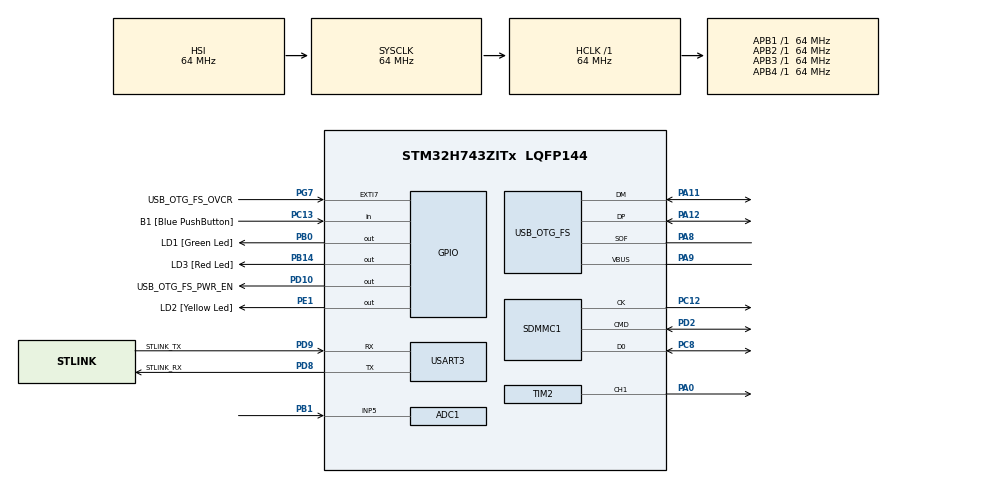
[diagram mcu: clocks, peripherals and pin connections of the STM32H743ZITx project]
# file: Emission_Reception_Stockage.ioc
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ADC1.Channel-0\#ChannelRegularConversion=ADC_CHANNEL_5
ADC1.ClockPrescaler=ADC_CLOCK_ASYNC_DIV1
ADC1.ContinuousConvMode=ENABLE
ADC1.ConversionDataManagement=ADC_CONVERSIONDATA_DMA_CIRCULAR
ADC1.NbrOfConversion=1
ADC1.NbrOfConversionFlag=1
ADC1.OffsetNumber-0\#ChannelRegularConversion=ADC_OFFSET_NONE
ADC1.OffsetSignedSaturation-0\#ChannelRegularConversion=DISABLE
ADC1.Overrun=ADC_OVR_DATA_PRESERVED
ADC1.Rank-0\#ChannelRegularConversion=1
ADC1.Resolution=ADC_RESOLUTION_16B
ADC1.SamplingTime-0\#ChannelRegularConversion=ADC_SAMPLETIME_1CYCLE_5
ADC1.master=1
Dma.ADC1.0.Direction=DMA_PERIPH_TO_MEMORY
Dma.ADC1.0.EventEnable=DISABLE
Dma.ADC1.0.FIFOMode=DMA_FIFOMODE_DISABLE
Dma.ADC1.0.Instance=DMA1_Stream0
Dma.ADC1.0.MemDataAlignment=DMA_MDATAALIGN_HALFWORD
Dma.ADC1.0.MemInc=DMA_MINC_ENABLE
Dma.ADC1.0.Mode=DMA_CIRCULAR
Dma.ADC1.0.PeriphDataAlignment=DMA_PDATAALIGN_HALFWORD
Dma.ADC1.0.PeriphInc=DMA_PINC_DISABLE
Dma.ADC1.0.Polarity=HAL_DMAMUX_REQ_GEN_RISING
Dma.ADC1.0.Priority=DMA_PRIORITY_LOW
Dma.ADC1.0.RequestNumber=1
Dma.ADC1.0.SignalID=NONE
Dma.ADC1.0.SyncEnable=DISABLE
Dma.ADC1.0.SyncPolarity=HAL_DMAMUX_SYNC_NO_EVENT
Dma.ADC1.0.SyncRequestNumber=1
Dma.ADC1.0.SyncSignalID=NONE
Dma.Request0=ADC1
FATFS.USE_DMA_CODE_SD=0
Mcu.Family=STM32H7
Mcu.Name=STM32H743ZITx
Mcu.Package=LQFP144
NVIC.DMA1_Stream0_IRQn=true\:0\:0\:false\:false\:true\:false\:true
NVIC.PriorityGroup=NVIC_PRIORITYGROUP_4
NVIC.SDMMC1_IRQn=true\:0\:0\:false\:false\:true\:true\:true
PA0.Signal=S_TIM2_CH1
PA1.Signal=ETH_REF_CLK
PA11.Mode=Device_Only
PA11.Signal=USB_OTG_FS_DM
PA12.Mode=Device_Only
PA12.Signal=USB_OTG_FS_DP
PA2.Signal=ETH_MDIO
PA7.Signal=ETH_CRS_DV
PA8.Mode=Activate_SOF_FS
PA8.Signal=USB_OTG_FS_SOF
PA9.Mode=Activate_VBUS
PA9.Signal=USB_OTG_FS_VBUS
PB0.GPIO_Label=LD1 [Green Led]
PB0.Signal=GPIO_Output
PB1.Signal=ADCx_INP5
PB13.Signal=ETH_TXD1
PB14.GPIO_Label=LD3 [Red Led]
PB14.Signal=GPIO_Output
PC1.Signal=ETH_MDC
PC12.Mode=SD_1_bit
PC12.Signal=SDMMC1_CK
PC13.GPIO_Label=B1 [Blue PushButton]
PC13.Signal=GPIO_Input
PC14-OSC32_IN\ (OSC32_IN).Mode=LSE-External-Oscillator
PC14-OSC32_IN\ (OSC32_IN).Signal=RCC_OSC32_IN
PC15-OSC32_OUT\ (OSC32_OUT).Mode=LSE-External-Oscillator
PC15-OSC32_OUT\ (OSC32_OUT).Signal=RCC_OSC32_OUT
PC4.Signal=ETH_RXD0
PC5.Signal=ETH_RXD1
PC8.Mode=SD_1_bit
PC8.Signal=SDMMC1_D0
PD10.GPIO_Label=USB_OTG_FS_PWR_EN
PD10.Signal=GPIO_Output
PD2.Mode=SD_1_bit
PD2.Signal=SDMMC1_CMD
PD8.GPIO_Label=STLINK_RX
PD8.Mode=Asynchronous
PD8.Signal=USART3_TX
PD9.GPIO_Label=STLINK_TX
PD9.Mode=Asynchronous
PD9.Signal=USART3_RX
PE1.GPIO_Label=LD2 [Yellow Led]
PE1.Signal=GPIO_Output
PG11.Signal=ETH_TX_EN
PG13.Signal=ETH_TXD0
PG7.GPIO_Label=USB_OTG_FS_OVCR
PG7.Signal=GPXTI7
PH0-OSC_IN\ (PH0).Mode=HSE-External-Clock-Source
PH0-OSC_IN\ (PH0).Signal=RCC_OSC_IN
PH1-OSC_OUT\ (PH1).Signal=RCC_OSC_OUT
ProjectManager.HeapSize=0x200
ProjectManager.StackSize=0x400
ProjectManager.TargetToolchain=STM32CubeIDE
RCC.ADCFreq_Value=10000000
RCC.APB1Freq_Value=64000000
RCC.APB2Freq_Value=64000000
RCC.APB3Freq_Value=64000000
RCC.APB4Freq_Value=64000000
RCC.CortexFreq_Value=64000000
RCC.DIVM1=1
RCC.DIVM2=1
RCC.DIVN1=24
RCC.DIVN2=18
RCC.DIVP2=15
RCC.DIVQ1=4
RCC.HCLKFreq_Value=64000000
RCC.HSE_VALUE=8000000
RCC.PLL2FRACN=6144
RCC.PLLFRACN=0
RCC.SYSCLKFreq_VALUE=64000000
RCC.USBFreq_Value=48000000
SH.ADCx_INP5.0=ADC1_INP5,IN5-Single-Ended
SH.S_TIM2_CH1.0=TIM2_CH1,PWM Generation1 CH1
TIM2.Channel-PWM\ Generation1\ CH1=TIM_CHANNEL_1
TIM2.Period=499
TIM2.Prescaler=1332
TIM2.Pulse-PWM\ Generation1\ CH1=250
USART3.VirtualMode-Asynchronous=VM_ASYNC
USB_OTG_FS.VirtualMode=Device_Only
VP_FATFS_VS_SDIO.Mode=SDIO
board=NUCLEO-H743ZI2

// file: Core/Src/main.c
/* USER CODE BEGIN Header */
/**
  ******************************************************************************
  * @file           : main.c
  * @brief          : Main program body
  ******************************************************************************
  * @attention
  *
  * <h2><center>&copy; Copyright (c) 2020 STMicroelectronics.
  * All rights reserved.</center></h2>
  *
  * This software component is licensed by ST under BSD 3-Clause license,
  * the "License"; You may not use this file except in compliance with the
  * License. You may obtain a copy of the License at:
  *                        opensource.org/licenses/BSD-3-Clause
  *
  ******************************************************************************
  */
/* USER CODE END Header */
#include "main.h"
#include "fatfs.h"

/* USER CODE BEGIN Includes */
#include<string.h>
#include <stdio.h>
/* USER CODE END Includes */

/* USER CODE BEGIN PD */
#define BUFFERLENGTH 0xFFFF
/* USER CODE END PD */

ADC_HandleTypeDef hadc1;
DMA_HandleTypeDef hdma_adc1;

SD_HandleTypeDef hsd1;

TIM_HandleTypeDef htim2;

UART_HandleTypeDef huart3;

PCD_HandleTypeDef hpcd_USB_OTG_FS;

/* USER CODE BEGIN PV */
// ADC PV
uint16_t adcBuffer[BUFFERLENGTH];
uint8_t flagToWrite=0;
// FATFS PV
uint32_t byteswritten;
int count =0;
uint32_t sample;

/* USER CODE END PV */

void SystemClock_Config(void);
static void MX_GPIO_Init(void);
static void MX_DMA_Init(void);
static void MX_USART3_UART_Init(void);
static void MX_USB_OTG_FS_PCD_Init(void);
static void MX_ADC1_Init(void);
static void MX_TIM2_Init(void);
static void MX_SDMMC1_SD_Init(void);

int main(void)
{

  /* MCU Configuration--------------------------------------------------------*/

  /* Reset of all peripherals, Initializes the Flash interface and the Systick. */
  HAL_Init();

  /* Configure the system clock */
  SystemClock_Config();

  /* Initialize all configured peripherals */
  MX_GPIO_Init();
  MX_DMA_Init();
  MX_USART3_UART_Init();
  MX_USB_OTG_FS_PCD_Init();
  MX_ADC1_Init();
  MX_TIM2_Init();
  MX_SDMMC1_SD_Init();
  MX_FATFS_Init();
  /* USER CODE BEGIN 2 */
  FATFS fs;
  FRESULT res ;
  res = f_mount(&fs, "0:", 1);
    if (res == FR_OK){
  	  HAL_GPIO_WritePin(LD3_GPIO_Port, LD3_Pin, 1);
  	  /*res = f_open(&SDFile, "wav1.CSV", FA_CREATE_ALWAYS | FA_WRITE);
  	  if (res == FR_OK){
  		HAL_GPIO_WritePin(LD3_GPIO_Port, LD3_Pin, 0);
  		res = f_write(&SDFile, wtext1, strlen((char *)wtext1), (void *)&byteswritten);
  		if((byteswritten == 0) || (res != FR_OK)){
  			HAL_GPIO_WritePin(LD1_GPIO_Port, LD1_Pin, 1);
  		}
  		else
  			HAL_GPIO_WritePin(LD3_GPIO_Port, LD3_Pin, 1);
  		f_close(&SDFile);
  	  }*/

    }
  //HAL_TIM_PWM_Start(&htim2, TIM_CHANNEL_1);

  if(f_open(&SDFile, "wav1.BIN", FA_CREATE_ALWAYS  | FA_WRITE) != FR_OK){ //ouvre un fichier en �criture, le cr�e s'il n'existe pas
  		  				//Error
  			  HAL_GPIO_TogglePin(LD3_GPIO_Port, LD3_Pin);
  		  		}
  		  		else {
  		  			HAL_GPIO_WritePin(LD1_GPIO_Port, LD1_Pin, 1);
  		  			HAL_ADC_Start_DMA(&hadc1, (uint32_t*)adcBuffer, BUFFERLENGTH);
  		  		}
  /* USER CODE END 2 */

  /* Infinite loop */
  /* USER CODE BEGIN WHILE */
  while (1)
  {
	  if (flagToWrite){
		  flagToWrite = 0;
		  res = f_write(&SDFile, adcBuffer, strlen((char*)adcBuffer), (void *)&byteswritten);
		  /*for (int i = 0 ; i<BUFFERLENGTH; i++){
		  				sample = i+1+count*BUFFERLENGTH;
		  				sprintf(time,"%e;",sample);
		  				res = f_write(&SDFile, time, strlen((char*)time), (void *)&byteswritten);
		  				if((byteswritten == 0) || (res != FR_OK)){
		  					HAL_GPIO_WritePin(LD1_GPIO_Port, LD1_Pin, 1);
		  				}
		  				else {
		  					HAL_GPIO_TogglePin(LD3_GPIO_Port, LD3_Pin);
		  				}
			  sprintf(wtext2,"%hu\r\n",adcBuffer[i]);
			  res = f_write(&SDFile, (uint8_t*)wtext2, strlen((char*)wtext2), (void *)&byteswritten);
		  				if((byteswritten == 0) || (res != FR_OK)){
		  					HAL_GPIO_WritePin(LD1_GPIO_Port, LD1_Pin, 1);
		  				}
		  				else {
		  					HAL_GPIO_TogglePin(LD3_GPIO_Port, LD3_Pin);
		  				}
		  }*/
		  count++;
		  if (count == 300){
			  f_close(&SDFile);
			  HAL_ADC_Stop_DMA(&hadc1);
			  while(1){
				  HAL_GPIO_TogglePin(LD1_GPIO_Port, LD1_Pin);
				  HAL_Delay(1000);
			  }
		  }
	  }
  }
    /* USER CODE END WHILE */

}

void SystemClock_Config(void)
{
  RCC_OscInitTypeDef RCC_OscInitStruct = {0};
  RCC_ClkInitTypeDef RCC_ClkInitStruct = {0};
  RCC_PeriphCLKInitTypeDef PeriphClkInitStruct = {0};

  /** Supply configuration update enable
  */
  HAL_PWREx_ConfigSupply(PWR_LDO_SUPPLY);
  /** Configure the main internal regulator output voltage
  */
  __HAL_PWR_VOLTAGESCALING_CONFIG(PWR_REGULATOR_VOLTAGE_SCALE3);

  while(!__HAL_PWR_GET_FLAG(PWR_FLAG_VOSRDY)) {}
  /** Macro to configure the PLL clock source
  */
  __HAL_RCC_PLL_PLLSOURCE_CONFIG(RCC_PLLSOURCE_HSE);
  /** Initializes the RCC Oscillators according to the specified parameters
  * in the RCC_OscInitTypeDef structure.
  */
  RCC_OscInitStruct.OscillatorType = RCC_OSCILLATORTYPE_HSI|RCC_OSCILLATORTYPE_HSE;
  RCC_OscInitStruct.HSEState = RCC_HSE_BYPASS;
  RCC_OscInitStruct.HSIState = RCC_HSI_DIV1;
  RCC_OscInitStruct.HSICalibrationValue = RCC_HSICALIBRATION_DEFAULT;
  RCC_OscInitStruct.PLL.PLLState = RCC_PLL_ON;
  RCC_OscInitStruct.PLL.PLLSource = RCC_PLLSOURCE_HSE;
  RCC_OscInitStruct.PLL.PLLM = 1;
  RCC_OscInitStruct.PLL.PLLN = 24;
  RCC_OscInitStruct.PLL.PLLP = 2;
  RCC_OscInitStruct.PLL.PLLQ = 4;
  RCC_OscInitStruct.PLL.PLLR = 2;
  RCC_OscInitStruct.PLL.PLLRGE = RCC_PLL1VCIRANGE_3;
  RCC_OscInitStruct.PLL.PLLVCOSEL = RCC_PLL1VCOWIDE;
  RCC_OscInitStruct.PLL.PLLFRACN = 0;
  if (HAL_RCC_OscConfig(&RCC_OscInitStruct) != HAL_OK)
  {
    Error_Handler();
  }
  /** Initializes the CPU, AHB and APB buses clocks
  */
  RCC_ClkInitStruct.ClockType = RCC_CLOCKTYPE_HCLK|RCC_CLOCKTYPE_SYSCLK
                              |RCC_CLOCKTYPE_PCLK1|RCC_CLOCKTYPE_PCLK2
                              |RCC_CLOCKTYPE_D3PCLK1|RCC_CLOCKTYPE_D1PCLK1;
  RCC_ClkInitStruct.SYSCLKSource = RCC_SYSCLKSOURCE_HSI;
  RCC_ClkInitStruct.SYSCLKDivider = RCC_SYSCLK_DIV1;
  RCC_ClkInitStruct.AHBCLKDivider = RCC_HCLK_DIV1;
  RCC_ClkInitStruct.APB3CLKDivider = RCC_APB3_DIV1;
  RCC_ClkInitStruct.APB1CLKDivider = RCC_APB1_DIV1;
  RCC_ClkInitStruct.APB2CLKDivider = RCC_APB2_DIV1;
  RCC_ClkInitStruct.APB4CLKDivider = RCC_APB4_DIV1;

  if (HAL_RCC_ClockConfig(&RCC_ClkInitStruct, FLASH_LATENCY_0) != HAL_OK)
  {
    Error_Handler();
  }
  PeriphClkInitStruct.PeriphClockSelection = RCC_PERIPHCLK_USART3|RCC_PERIPHCLK_SDMMC
                              |RCC_PERIPHCLK_ADC|RCC_PERIPHCLK_USB;
  PeriphClkInitStruct.PLL2.PLL2M = 1;
  PeriphClkInitStruct.PLL2.PLL2N = 18;
  PeriphClkInitStruct.PLL2.PLL2P = 15;
  PeriphClkInitStruct.PLL2.PLL2Q = 2;
  PeriphClkInitStruct.PLL2.PLL2R = 2;
  PeriphClkInitStruct.PLL2.PLL2RGE = RCC_PLL2VCIRANGE_3;
  PeriphClkInitStruct.PLL2.PLL2VCOSEL = RCC_PLL2VCOMEDIUM;
  PeriphClkInitStruct.PLL2.PLL2FRACN = 6144;
  PeriphClkInitStruct.SdmmcClockSelection = RCC_SDMMCCLKSOURCE_PLL;
  PeriphClkInitStruct.Usart234578ClockSelection = RCC_USART234578CLKSOURCE_D2PCLK1;
  PeriphClkInitStruct.UsbClockSelection = RCC_USBCLKSOURCE_PLL;
  PeriphClkInitStruct.AdcClockSelection = RCC_ADCCLKSOURCE_PLL2;
  if (HAL_RCCEx_PeriphCLKConfig(&PeriphClkInitStruct) != HAL_OK)
  {
    Error_Handler();
  }
  /** Enable USB Voltage detector
  */
  HAL_PWREx_EnableUSBVoltageDetector();
}

static void MX_ADC1_Init(void)
{

  ADC_MultiModeTypeDef multimode = {0};
  ADC_ChannelConfTypeDef sConfig = {0};

  /** Common config
  */
  hadc1.Instance = ADC1;
  hadc1.Init.ClockPrescaler = ADC_CLOCK_ASYNC_DIV1;
  hadc1.Init.Resolution = ADC_RESOLUTION_16B;
  hadc1.Init.ScanConvMode = ADC_SCAN_DISABLE;
  hadc1.Init.EOCSelection = ADC_EOC_SINGLE_CONV;
  hadc1.Init.LowPowerAutoWait = DISABLE;
  hadc1.Init.ContinuousConvMode = ENABLE;
  hadc1.Init.NbrOfConversion = 1;
  hadc1.Init.DiscontinuousConvMode = DISABLE;
  hadc1.Init.ExternalTrigConv = ADC_SOFTWARE_START;
  hadc1.Init.ExternalTrigConvEdge = ADC_EXTERNALTRIGCONVEDGE_NONE;
  hadc1.Init.ConversionDataManagement = ADC_CONVERSIONDATA_DMA_CIRCULAR;
  hadc1.Init.Overrun = ADC_OVR_DATA_PRESERVED;
  hadc1.Init.LeftBitShift = ADC_LEFTBITSHIFT_NONE;
  hadc1.Init.OversamplingMode = DISABLE;
  if (HAL_ADC_Init(&hadc1) != HAL_OK)
  {
    Error_Handler();
  }
  /** Configure the ADC multi-mode
  */
  multimode.Mode = ADC_MODE_INDEPENDENT;
  if (HAL_ADCEx_MultiModeConfigChannel(&hadc1, &multimode) != HAL_OK)
  {
    Error_Handler();
  }
  /** Configure Regular Channel
  */
  sConfig.Channel = ADC_CHANNEL_5;
  sConfig.Rank = ADC_REGULAR_RANK_1;
  sConfig.SamplingTime = ADC_SAMPLETIME_1CYCLE_5;
  sConfig.SingleDiff = ADC_SINGLE_ENDED;
  sConfig.OffsetNumber = ADC_OFFSET_NONE;
  sConfig.Offset = 0;
  sConfig.OffsetSignedSaturation = DISABLE;
  if (HAL_ADC_ConfigChannel(&hadc1, &sConfig) != HAL_OK)
  {
    Error_Handler();
  }

}

static void MX_SDMMC1_SD_Init(void)
{

  hsd1.Instance = SDMMC1;
  hsd1.Init.ClockEdge = SDMMC_CLOCK_EDGE_RISING;
  hsd1.Init.ClockPowerSave = SDMMC_CLOCK_POWER_SAVE_DISABLE;
  hsd1.Init.BusWide = SDMMC_BUS_WIDE_1B;
  hsd1.Init.HardwareFlowControl = SDMMC_HARDWARE_FLOW_CONTROL_DISABLE;
  hsd1.Init.ClockDiv = 0;
  hsd1.Init.TranceiverPresent = SDMMC_TRANSCEIVER_NOT_PRESENT;

}

static void MX_TIM2_Init(void)
{

  TIM_MasterConfigTypeDef sMasterConfig = {0};
  TIM_OC_InitTypeDef sConfigOC = {0};

  htim2.Instance = TIM2;
  htim2.Init.Prescaler = 1332;
  htim2.Init.CounterMode = TIM_COUNTERMODE_UP;
  htim2.Init.Period = 499;
  htim2.Init.ClockDivision = TIM_CLOCKDIVISION_DIV1;
  htim2.Init.AutoReloadPreload = TIM_AUTORELOAD_PRELOAD_DISABLE;
  if (HAL_TIM_PWM_Init(&htim2) != HAL_OK)
  {
    Error_Handler();
  }
  sMasterConfig.MasterOutputTrigger = TIM_TRGO_RESET;
  sMasterConfig.MasterSlaveMode = TIM_MASTERSLAVEMODE_DISABLE;
  if (HAL_TIMEx_MasterConfigSynchronization(&htim2, &sMasterConfig) != HAL_OK)
  {
    Error_Handler();
  }
  sConfigOC.OCMode = TIM_OCMODE_PWM1;
  sConfigOC.Pulse = 250;
  sConfigOC.OCPolarity = TIM_OCPOLARITY_HIGH;
  sConfigOC.OCFastMode = TIM_OCFAST_DISABLE;
  if (HAL_TIM_PWM_ConfigChannel(&htim2, &sConfigOC, TIM_CHANNEL_1) != HAL_OK)
  {
    Error_Handler();
  }
  HAL_TIM_MspPostInit(&htim2);

}

static void MX_USART3_UART_Init(void)
{

  huart3.Instance = USART3;
  huart3.Init.BaudRate = 115200;
  huart3.Init.WordLength = UART_WORDLENGTH_8B;
  huart3.Init.StopBits = UART_STOPBITS_1;
  huart3.Init.Parity = UART_PARITY_NONE;
  huart3.Init.Mode = UART_MODE_TX_RX;
  huart3.Init.HwFlowCtl = UART_HWCONTROL_NONE;
  huart3.Init.OverSampling = UART_OVERSAMPLING_16;
  huart3.Init.OneBitSampling = UART_ONE_BIT_SAMPLE_DISABLE;
  huart3.Init.ClockPrescaler = UART_PRESCALER_DIV1;
  huart3.AdvancedInit.AdvFeatureInit = UART_ADVFEATURE_NO_INIT;
  if (HAL_UART_Init(&huart3) != HAL_OK)
  {
    Error_Handler();
  }
  if (HAL_UARTEx_SetTxFifoThreshold(&huart3, UART_TXFIFO_THRESHOLD_1_8) != HAL_OK)
  {
    Error_Handler();
  }
  if (HAL_UARTEx_SetRxFifoThreshold(&huart3, UART_RXFIFO_THRESHOLD_1_8) != HAL_OK)
  {
    Error_Handler();
  }
  if (HAL_UARTEx_DisableFifoMode(&huart3) != HAL_OK)
  {
    Error_Handler();
  }

}

static void MX_USB_OTG_FS_PCD_Init(void)
{

  hpcd_USB_OTG_FS.Instance = USB_OTG_FS;
  hpcd_USB_OTG_FS.Init.dev_endpoints = 9;
  hpcd_USB_OTG_FS.Init.speed = PCD_SPEED_FULL;
  hpcd_USB_OTG_FS.Init.dma_enable = DISABLE;
  hpcd_USB_OTG_FS.Init.phy_itface = PCD_PHY_EMBEDDED;
  hpcd_USB_OTG_FS.Init.Sof_enable = ENABLE;
  hpcd_USB_OTG_FS.Init.low_power_enable = DISABLE;
  hpcd_USB_OTG_FS.Init.lpm_enable = DISABLE;
  hpcd_USB_OTG_FS.Init.battery_charging_enable = ENABLE;
  hpcd_USB_OTG_FS.Init.vbus_sensing_enable = ENABLE;
  hpcd_USB_OTG_FS.Init.use_dedicated_ep1 = DISABLE;
  if (HAL_PCD_Init(&hpcd_USB_OTG_FS) != HAL_OK)
  {
    Error_Handler();
  }

}

static void MX_DMA_Init(void)
{

  /* DMA controller clock enable */
  __HAL_RCC_DMA1_CLK_ENABLE();

  /* DMA interrupt init */
  /* DMA1_Stream0_IRQn interrupt configuration */
  HAL_NVIC_SetPriority(DMA1_Stream0_IRQn, 0, 0);
  HAL_NVIC_EnableIRQ(DMA1_Stream0_IRQn);

}

static void MX_GPIO_Init(void)
{
  GPIO_InitTypeDef GPIO_InitStruct = {0};

  /* GPIO Ports Clock Enable */
  __HAL_RCC_GPIOC_CLK_ENABLE();
  __HAL_RCC_GPIOH_CLK_ENABLE();
  __HAL_RCC_GPIOA_CLK_ENABLE();
  __HAL_RCC_GPIOB_CLK_ENABLE();
  __HAL_RCC_GPIOD_CLK_ENABLE();
  __HAL_RCC_GPIOG_CLK_ENABLE();
  __HAL_RCC_GPIOE_CLK_ENABLE();

  /*Configure GPIO pin Output Level */
  HAL_GPIO_WritePin(GPIOB, LD1_Pin|LD3_Pin, GPIO_PIN_RESET);

  /*Configure GPIO pin Output Level */
  HAL_GPIO_WritePin(USB_OTG_FS_PWR_EN_GPIO_Port, USB_OTG_FS_PWR_EN_Pin, GPIO_PIN_RESET);

  /*Configure GPIO pin Output Level */
  HAL_GPIO_WritePin(LD2_GPIO_Port, LD2_Pin, GPIO_PIN_RESET);

  /*Configure GPIO pin : B1_Pin */
  GPIO_InitStruct.Pin = B1_Pin;
  GPIO_InitStruct.Mode = GPIO_MODE_INPUT;
  GPIO_InitStruct.Pull = GPIO_NOPULL;
  HAL_GPIO_Init(B1_GPIO_Port, &GPIO_InitStruct);

  /*Configure GPIO pins : PC1 PC4 PC5 */
  GPIO_InitStruct.Pin = GPIO_PIN_1|GPIO_PIN_4|GPIO_PIN_5;
  GPIO_InitStruct.Mode = GPIO_MODE_AF_PP;
  GPIO_InitStruct.Pull = GPIO_NOPULL;
  GPIO_InitStruct.Speed = GPIO_SPEED_FREQ_LOW;
  GPIO_InitStruct.Alternate = GPIO_AF11_ETH;
  HAL_GPIO_Init(GPIOC, &GPIO_InitStruct);

  /*Configure GPIO pins : PA1 PA2 PA7 */
  GPIO_InitStruct.Pin = GPIO_PIN_1|GPIO_PIN_2|GPIO_PIN_7;
  GPIO_InitStruct.Mode = GPIO_MODE_AF_PP;
  GPIO_InitStruct.Pull = GPIO_NOPULL;
  GPIO_InitStruct.Speed = GPIO_SPEED_FREQ_LOW;
  GPIO_InitStruct.Alternate = GPIO_AF11_ETH;
  HAL_GPIO_Init(GPIOA, &GPIO_InitStruct);

  /*Configure GPIO pins : LD1_Pin LD3_Pin */
  GPIO_InitStruct.Pin = LD1_Pin|LD3_Pin;
  GPIO_InitStruct.Mode = GPIO_MODE_OUTPUT_PP;
  GPIO_InitStruct.Pull = GPIO_NOPULL;
  GPIO_InitStruct.Speed = GPIO_SPEED_FREQ_LOW;
  HAL_GPIO_Init(GPIOB, &GPIO_InitStruct);

  /*Configure GPIO pin : PB13 */
  GPIO_InitStruct.Pin = GPIO_PIN_13;
  GPIO_InitStruct.Mode = GPIO_MODE_AF_PP;
  GPIO_InitStruct.Pull = GPIO_NOPULL;
  GPIO_InitStruct.Speed = GPIO_SPEED_FREQ_LOW;
  GPIO_InitStruct.Alternate = GPIO_AF11_ETH;
  HAL_GPIO_Init(GPIOB, &GPIO_InitStruct);

  /*Configure GPIO pin : USB_OTG_FS_PWR_EN_Pin */
  GPIO_InitStruct.Pin = USB_OTG_FS_PWR_EN_Pin;
  GPIO_InitStruct.Mode = GPIO_MODE_OUTPUT_PP;
  GPIO_InitStruct.Pull = GPIO_NOPULL;
  GPIO_InitStruct.Speed = GPIO_SPEED_FREQ_LOW;
  HAL_GPIO_Init(USB_OTG_FS_PWR_EN_GPIO_Port, &GPIO_InitStruct);

  /*Configure GPIO pin : USB_OTG_FS_OVCR_Pin */
  GPIO_InitStruct.Pin = USB_OTG_FS_OVCR_Pin;
  GPIO_InitStruct.Mode = GPIO_MODE_IT_RISING;
  GPIO_InitStruct.Pull = GPIO_NOPULL;
  HAL_GPIO_Init(USB_OTG_FS_OVCR_GPIO_Port, &GPIO_InitStruct);

  /*Configure GPIO pins : PG11 PG13 */
  GPIO_InitStruct.Pin = GPIO_PIN_11|GPIO_PIN_13;
  GPIO_InitStruct.Mode = GPIO_MODE_AF_PP;
  GPIO_InitStruct.Pull = GPIO_NOPULL;
  GPIO_InitStruct.Speed = GPIO_SPEED_FREQ_LOW;
  GPIO_InitStruct.Alternate = GPIO_AF11_ETH;
  HAL_GPIO_Init(GPIOG, &GPIO_InitStruct);

  /*Configure GPIO pin : LD2_Pin */
  GPIO_InitStruct.Pin = LD2_Pin;
  GPIO_InitStruct.Mode = GPIO_MODE_OUTPUT_PP;
  GPIO_InitStruct.Pull = GPIO_NOPULL;
  GPIO_InitStruct.Speed = GPIO_SPEED_FREQ_LOW;
  HAL_GPIO_Init(LD2_GPIO_Port, &GPIO_InitStruct);

}

/* USER CODE BEGIN 4 */
void HAL_ADC_ConvHalfCpltCallback(ADC_HandleTypeDef* hadc){
	HAL_GPIO_TogglePin(LD2_GPIO_Port, LD2_Pin);
	flagToWrite=1;
}
void HAL_ADC_ConvCpltCallback(ADC_HandleTypeDef* hadc){
	HAL_GPIO_TogglePin(LD2_GPIO_Port, LD2_Pin);
	flagToWrite=1;
}
/* USER CODE END 4 */

void Error_Handler(void)
{
}

/************************ (C) COPYRIGHT STMicroelectronics *****END OF FILE****/
